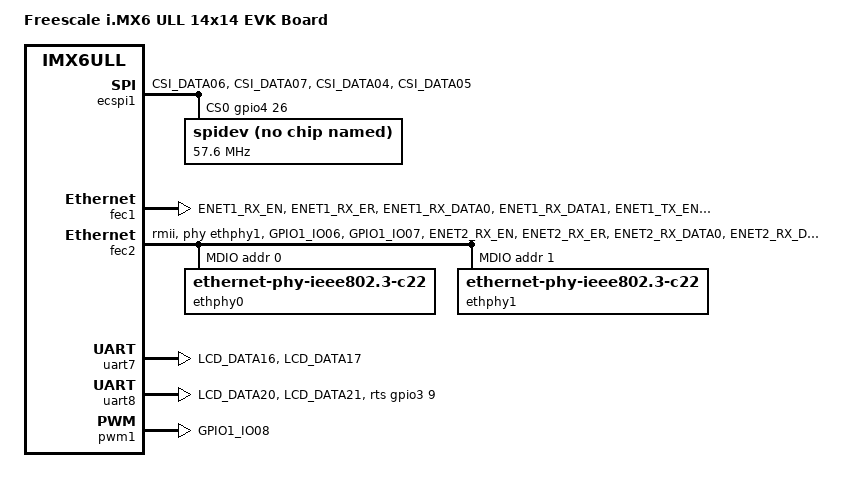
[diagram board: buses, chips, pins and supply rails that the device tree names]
/*
 * Copyright (C) 2017 MYiR Technology Company
 *
 * This program is free software; you can redistribute it and/or modify
 * it under the terms of the GNU General Public License version 2 as
 * published by the Free Software Foundation.
 */

#include "imx6ull-pinfunc-snvs.h"
&iomuxc {
	imx6ul-evk {
		pinctrl_enet1_alt: enet1grp {
			fsl,pins = <
				MX6UL_PAD_ENET1_RX_EN__ENET1_RX_EN	0x1b0b0
				MX6UL_PAD_ENET1_RX_ER__ENET1_RX_ER	0x1b0b0
				MX6UL_PAD_ENET1_RX_DATA0__ENET1_RDATA00	0x1b0b0
				MX6UL_PAD_ENET1_RX_DATA1__ENET1_RDATA01	0x1b0b0
				MX6UL_PAD_ENET1_TX_EN__ENET1_TX_EN	0x1b0b0
				MX6UL_PAD_ENET1_TX_DATA0__ENET1_TDATA00	0x1b0b0
				MX6UL_PAD_ENET1_TX_DATA1__ENET1_TDATA01	0x1b0b0
				MX6UL_PAD_ENET1_TX_CLK__ENET1_REF_CLK1	0x4001b031
			>;
		};
        
		pinctrl_enet2_alt: enet2grp {
			fsl,pins = <
				MX6UL_PAD_GPIO1_IO06__ENET2_MDIO	0x1b0b0
				MX6UL_PAD_GPIO1_IO07__ENET2_MDC		0x1b0b0
				MX6UL_PAD_ENET2_RX_EN__ENET2_RX_EN	0x1b0b0
				MX6UL_PAD_ENET2_RX_ER__ENET2_RX_ER	0x1b0b0
				MX6UL_PAD_ENET2_RX_DATA0__ENET2_RDATA00	0x1b0b0
				MX6UL_PAD_ENET2_RX_DATA1__ENET2_RDATA01	0x1b0b0
				MX6UL_PAD_ENET2_TX_EN__ENET2_TX_EN	0x1b0b0
				MX6UL_PAD_ENET2_TX_DATA0__ENET2_TDATA00	0x1b0b0
				MX6UL_PAD_ENET2_TX_DATA1__ENET2_TDATA01	0x1b0b0
				MX6UL_PAD_ENET2_TX_CLK__ENET2_REF_CLK2	0x4001b031
			>;
		};

		/*
		    * The same pins GPIO1_IO6 and GPIO_IO7 are shared as the MII
		    * bus of ENET1 and ENET2. If both interfaces are enabled, the
		    * IOMUX of ENET2 will apply.
		    * If only one interface is enabled, the IOMUX of the enabled
		    * interface will apply.
		    */
		pinctrl_enet1_mdio: mdioenet1grp {
			fsl,pins = <
				MX6UL_PAD_GPIO1_IO07__ENET1_MDC		0x1b0b0
				MX6UL_PAD_GPIO1_IO06__ENET1_MDIO	0x1b0b0
			>;
		};

		pinctrl_enet2_mdio: mdioenet2grp {
			fsl,pins = <
				MX6UL_PAD_GPIO1_IO07__ENET2_MDC		0x1b0b0
				MX6UL_PAD_GPIO1_IO06__ENET2_MDIO	0x1b0b0
			>;
		};

		pinctrl_enet1_gpio: enet1gpiogrp {
			fsl,pins = <
				MX6UL_PAD_SNVS_TAMPER9__GPIO5_IO09     0x1b0b0
			>;
		};

		pinctrl_enet2_gpio: enet2gpiogrp {
			fsl,pins = <
				/* PHY reset */
				MX6UL_PAD_SNVS_TAMPER6__GPIO5_IO06	0x1b0b0
			>;
		};

		pinctrl_ecspi1_cs_1: ecspi1_cs_grp-1 {
			fsl,pins = <
				MX6UL_PAD_CSI_DATA05__GPIO4_IO26  0x10b0
			>;
		};

		pinctrl_ecspi1_1: ecspi1grp-1 {
			fsl,pins = <
				MX6UL_PAD_CSI_DATA06__ECSPI1_MOSI 0x10b0
				MX6UL_PAD_CSI_DATA07__ECSPI1_MISO 0x10b0
				MX6UL_PAD_CSI_DATA04__ECSPI1_SCLK 0x10b0
			>;
		};

		pinctrl_uart7: uart7grp {
			fsl,pins = <
				MX6UL_PAD_LCD_DATA16__UART7_DCE_TX	0x1b0b1
				MX6UL_PAD_LCD_DATA17__UART7_DCE_RX	0x1b0b1
			>;
		};

		pinctrl_uart8: uart8grp {
			fsl,pins = <
				MX6UL_PAD_LCD_DATA20__UART8_DCE_TX	0x1b0b1
				MX6UL_PAD_LCD_DATA21__UART8_DCE_RX	0x1b0b1
			>;
		};

		pinctrl_pwm1: pwm1grp {
			fsl,pins = <
				MX6UL_PAD_GPIO1_IO08__PWM1_OUT   0x1b0b1
			>;
		};
    };
};

&iomuxc_snvs {
	pinctrl-names = "default_snvs";
	imx6ull-board {
	pinctrl-0 = <&init_gpio_pinsSnvs>;
		init_gpio_pinsSnvs: init_gpio_pinsSnvsGrp {        /*!< Function assigned for the core: Cortex-A7[ca7] */
			fsl,pins = <
				MX6ULL_PAD_SNVS_TAMPER7__GPIO5_IO07        0x0000F0B0
			>;
		};
	};
};

&ecspi1 {
	fsl,spi-num-chipselects = <1>;
	cs-gpios = <&gpio4 26 0>;
	pinctrl-names = "default";
	pinctrl-0 = <&pinctrl_ecspi1_1 &pinctrl_ecspi1_cs_1>;
	status = "okay";

	spidev@0{
		//compatible = "linux,spidev";
		compatible = "rohm,dh2228fv"; /* Same as "spidev" but without errors at boot. Search "buggy DT" to understand */
		reg = <0>;
		spi-max-frequency = <57600000>;
	};
};

&fec1 {
	pinctrl-names = "default";
	pinctrl-0 = <&pinctrl_enet1_alt>, <&pinctrl_enet1_gpio>;
	phy-reset-gpios = <&gpio5 9 GPIO_ACTIVE_LOW>;
	phy-reset-duration = <26>;
	phy-reset-post-delay=<20>;
	status = "okay";
	/delete-node/ mdio;
};

&fec2 {
	pinctrl-names = "default";
	pinctrl-0 = <&pinctrl_enet2_alt>, <&pinctrl_enet2_mdio>, <&pinctrl_enet2_gpio>;
	phy-mode = "rmii";
	phy-handle = <&ethphy1>;
	phy-reset-gpios = <&gpio5 6 GPIO_ACTIVE_LOW>;
	phy-reset-duration = <26>;
	phy-reset-post-delay=<20>;
	status = "okay";

	mdio {
		#address-cells = <1>;
		#size-cells = <0>;

		ethphy0: ethernet-phy@0 {
			compatible = "ethernet-phy-ieee802.3-c22";
			reg = <0>;
		};
		ethphy1: ethernet-phy@1 {
			compatible = "ethernet-phy-ieee802.3-c22";
			reg = <1>;
		};
	};
};

&uart7 {
	pinctrl-names = "default";
	pinctrl-0 = <&pinctrl_uart7>;
	status = "okay";
};

&uart8 {
	pinctrl-names = "default";
	pinctrl-0 = <&pinctrl_uart8>;
	rts-gpios = <&gpio3 9 GPIO_ACTIVE_HIGH>;
	linux,rs485-enabled-at-boot-time;
	status = "okay";
};

&pwm1 {
	pinctrl-names = "default";
	pinctrl-0 = <&pinctrl_pwm1>;
	status = "okay";
};

/ {
	model = "Freescale i.MX6 ULL 14x14 EVK Board";
	compatible = "fsl,imx6ull-14x14-evk", "fsl,imx6ull";
};
